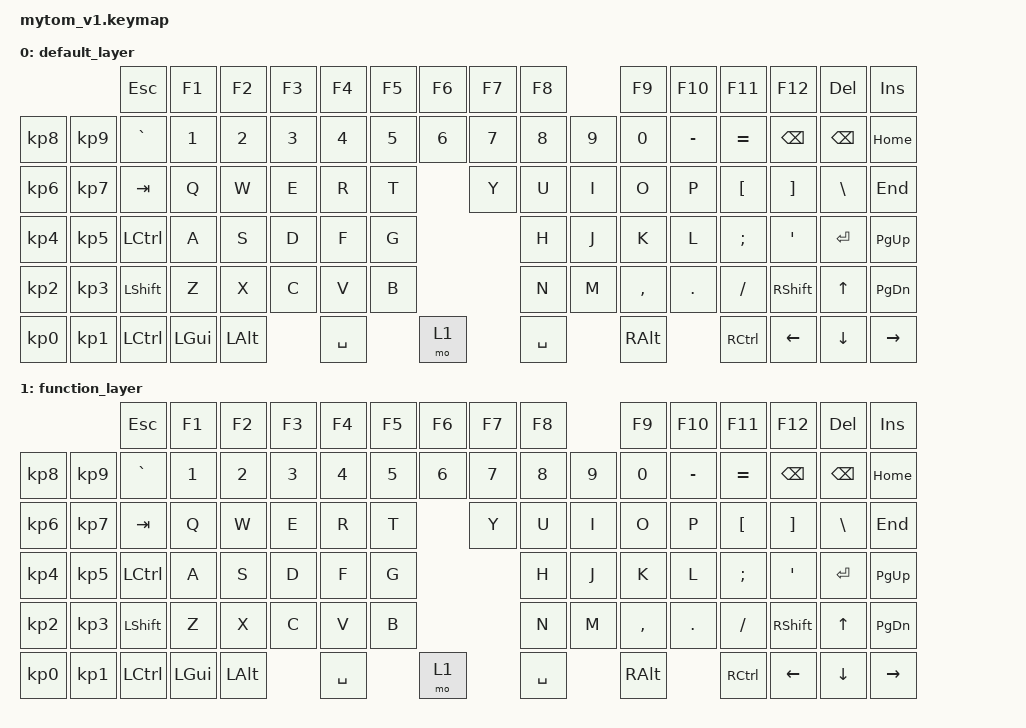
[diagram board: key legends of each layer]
/*
# Copyright (c) 2021 The ZMK Contributors
*
* SPDX-License-Identifier: MIT
*/

#include <behaviors.dtsi>
#include <dt-bindings/zmk/keys.h>
#include <dt-bindings/zmk/rgb.h>
#include <dt-bindings/zmk/bt.h>
#include <dt-bindings/zmk/outputs.h>
#include <dt-bindings/zmk/ext_power.h>

/ {
	keymap {
		compatible = "zmk,keymap";
  /* Base          ,--------------------------------------------.     ,--------------------------------------------------------.
  *  | Display |   | ESC | F1  | F2  |  | F3  | F4  | F5  | F6  |     | F7  | F8  |  | F9  | F10 | F11 | F12 |Print| Ins | Del |
  * ,-----------.  |-----+-----+-----+--+-----+-----+-----+-----|     |-----+-----+--+-----+-----+-----+-----+-----------+-----|
  * |  8  |  9  |  |  ~  |  1  |  2  |  3  |  4  |  5  |  6  |        |  7   |  8   |  9  |  0  |  -  |  =  |  Backspac  | Home|
  * |-----+-----|  |-----------------------------------------'     ,-----------------------------------------------------+-----|
  * |  6  |  7  |  | Tab   |  Q  |  W  |  E  |  R  |  T  |         |   Y  |   U   |  I  |   O  |  P  |  [  |  ]  |   \   | PgUp|
  * |-----+-----|  |---------------------------------------.       `-----------------------------------------------------+-----|
  * |  4  |  5  |  | Caps    |  A  |  S  |  D  |  F  |  G  |         |  H  |  J  |  K  |  L  |  ;  |  '  |     Enter     | PgDn|
  * |-----+-----|  |-----------------------------------------.       `---------------------------------------------------+-----|
  * |  2  |  3  |  | Shift     |  Z  |  X  |  C  |  V  |  B  |           |  N  |  M  |  ,  |  .  |   /   |  Shift  | Up  | End |
  * |-----+-----|  |-----------------------------------------'         ,-------------------------------------------+-----+-----|
  * |  0  |  1  |  | Ctrl  |  GUI |  Alt |   Space   | Space |         | Space         |  Alt  |     | Ctrl  | Left| Down|Right|
  * `-----------'  `-----------------------------------------'         `-------------------------------------------------------'
  */
		default_layer {
			bindings = <
			                    &kp ESC &kp F1  &kp F2  &kp F3  &kp F4  &kp F5  &kp F6    /*  */   &kp F7  &kp F8            &kp F9   &kp F10  &kp F11  &kp F12     &kp DEL  &kp INS
	    &kp KP_N8 &kp KP_N9     &kp GRAVE &kp N1  &kp N2  &kp N3 &kp N4  &kp N5  &kp N6   /*  */   &kp N7  &kp N8   &kp N9   &kp N0   &kp MINUS &kp EQUAL &kp BSPC  &kp BSPC &kp HOME
		&kp KP_N6 &kp KP_N7     &kp TAB   &kp Q   &kp W   &kp E     &kp R  &kp T          /*  */   &kp Y    &kp U   &kp I    &kp O    &kp P     &kp LBKT  &kp RBKT  &kp BSLH &kp END
		&kp KP_N4 &kp KP_N5     &kp LCTRL &kp A    &kp S    &kp D     &kp F  &kp G        /*  */   &kp H      &kp J     &kp K     &kp L     &kp SEMI  &kp SQT       &kp RET  &kp PG_UP 
		&kp KP_N2 &kp KP_N3     &kp LSHFT &kp Z    &kp X    &kp C     &kp V  &kp B        /*  */   &kp N      &kp M     &kp COMMA  &kp DOT    &kp FSLH   &kp RSHFT  &kp UP   &kp PG_DN
		&kp KP_N0 &kp KP_N1     &kp LCTRL &kp LGUI &kp LALT       &kp SPACE    &mo 1      /*  */        &kp SPACE                &kp RALT   &kp RCTRL      &kp LEFT &kp DOWN &kp RIGHT
			>;
		};
  /* Func          ,--------------------------------------------.     ,--------------------------------------------------------.
  *  | Display |   | ESC | F1  | F2  |  | F3  | F4  | F5  | F6  |     | F7  | F8  |  | F9  | F10 | F11 | F12 |Print| Ins | Del |
  * ,-----------.  |-----+-----+-----+--+-----+-----+-----+-----|     |-----+-----+--+-----+-----+-----+-----+-----------+-----|
  * |  8  |  9  |  |  ~  |  1  |  2  |  3  |  4  |  5  |  6  |        |  7   |  8   |  9  |  0  |  -  |  =  |  Backspac  | Home|
  * |-----+-----|  |-----------------------------------------'     ,-----------------------------------------------------+-----|
  * |  6  |  7  |  | Tab   |  Q  |  W  |  E  |  R  |  T  |         |   Y  |   U   |  I  |   O  |  P  |  [  |  ]  |   \   | PgUp|
  * |-----+-----|  |---------------------------------------.       `-----------------------------------------------------+-----|
  * |  4  |  5  |  | Caps    |  A  |  S  |  D  |  F  |  G  |         |  H  |  J  |  K  |  L  |  ;  |  '  |     Enter     | PgDn|
  * |-----+-----|  |-----------------------------------------.       `---------------------------------------------------+-----|
  * |  2  |  3  |  | Shift     |  Z  |  X  |  C  |  V  |  B  |           |  N  |  M  |  ,  |  .  |   /   |  Shift  | Up  | End |
  * |-----+-----|  |-----------------------------------------'         ,-------------------------------------------+-----+-----|
  * |  0  |  1  |  | Ctrl  |  GUI |  Alt |   Space   | Space |         | Space         |  Alt  |     | Ctrl  | Left| Down|Right|
  * `-----------'  `-----------------------------------------'         `-------------------------------------------------------'
  */

		function_layer {
			bindings = <
			                    &kp ESC &kp F1  &kp F2  &kp F3  &kp F4  &kp F5  &kp F6         &kp F7  &kp F8            &kp F9   &kp F10  &kp F11  &kp F12     &kp DEL  &kp INS
	    &kp KP_N8 &kp KP_N9     &kp GRAVE &kp N1  &kp N2  &kp N3 &kp N4  &kp N5  &kp N6        &kp N7  &kp N8   &kp N9   &kp N0   &kp MINUS &kp EQUAL &kp BSPC  &kp BSPC &kp HOME
		&kp KP_N6 &kp KP_N7     &kp TAB   &kp Q   &kp W   &kp E     &kp R  &kp T               &kp Y    &kp U   &kp I    &kp O    &kp P     &kp LBKT  &kp RBKT  &kp BSLH &kp END
		&kp KP_N4 &kp KP_N5     &kp LCTRL &kp A    &kp S    &kp D     &kp F  &kp G             &kp H      &kp J     &kp K     &kp L     &kp SEMI  &kp SQT       &kp RET  &kp PG_UP 
		&kp KP_N2 &kp KP_N3     &kp LSHFT &kp Z    &kp X    &kp C     &kp V  &kp B             &kp N      &kp M     &kp COMMA  &kp DOT    &kp FSLH   &kp RSHFT  &kp UP   &kp PG_DN
		&kp KP_N0 &kp KP_N1     &kp LCTRL &kp LGUI &kp LALT       &kp SPACE    &mo 1                &kp SPACE                &kp RALT   &kp RCTRL      &kp LEFT &kp DOWN &kp RIGHT
			>;
		};
	};
};
